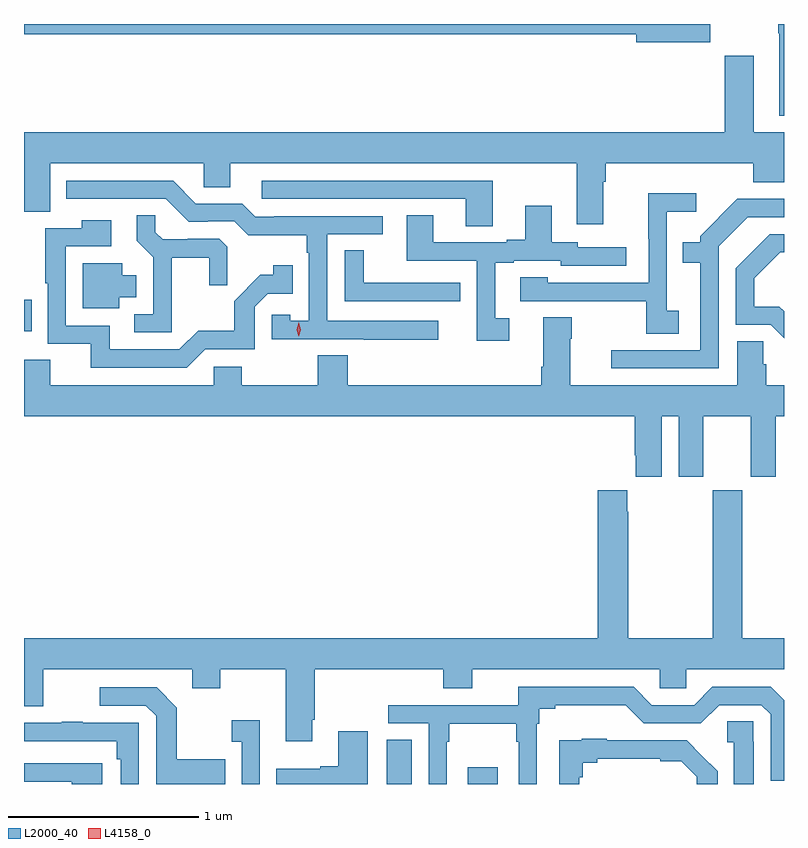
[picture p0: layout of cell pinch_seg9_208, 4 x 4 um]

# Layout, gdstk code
import gdstk
lib = gdstk.Library(unit=1e-6, precision=1e-09)
def R(c, l, rs):  # rectangles x0, y0, x1, y1
    for r in rs: c.add(gdstk.rectangle(r[:2], r[2:], *l))
def P(c, l, *ps):  # polygons
    for p in ps: c.add(gdstk.Polygon(p, *l))
L2000_40 = (2000, 40)
L4158_0 = (4158, 0)

pinch_seg9_208 = lib.new_cell('pinch_seg9_208')
R(pinch_seg9_208, L2000_40, [(627.344,1227.785,627.475,1228.019), (627.77,1227.785,627.928,1227.874), (625.435,1230.167,625.475,1230.333)])
P(pinch_seg9_208, L2000_40, [(629.435,1231.785),(629.404,1231.785),(629.404,1231.736),(629.411,1231.736),(629.411,1231.301),(629.435,1231.301)],
  [(629.047,1231.785),(625.435,1231.785),(625.435,1231.732),(628.658,1231.732),(628.658,1231.69),(629.047,1231.69)],
  [(628.483,1230.956),(628.496,1230.956),(628.496,1231.052),(629.273,1231.052),(629.273,1230.953),(629.435,1230.953),(629.435,1231.216),(629.275,1231.216),(629.275,1231.618),(629.123,1231.618),(629.123,1231.216),(625.435,1231.216),(625.435,1230.796),(625.573,1230.796),(625.573,1231.052),(626.382,1231.052),(626.382,1230.925),(626.521,1230.925),(626.521,1231.052),(628.343,1231.052),(628.343,1230.732),(628.483,1230.732)],
  [(627.616,1230.222),(627.03,1230.222),(627.03,1230.678),(627.322,1230.678),(627.322,1230.774),(626.752,1230.774),(626.752,1230.771),(626.652,1230.771),(626.583,1230.84),(626.34,1230.84),(626.22,1230.96),(625.658,1230.96),(625.658,1230.864),(626.181,1230.864),(626.301,1230.744),(626.402,1230.744),(626.402,1230.747),(626.541,1230.747),(626.614,1230.674),(626.922,1230.674),(626.922,1230.581),(626.934,1230.581),(626.934,1230.223),(626.835,1230.223),(626.835,1230.255),(626.739,1230.255),(626.739,1230.126),(627.223,1230.126),(627.223,1230.124),(627.616,1230.124)],
  [(627.901,1230.96),(626.685,1230.96),(626.685,1230.864),(627.761,1230.864),(627.761,1230.721),(627.901,1230.721)],
  [(628.882,1230.276),(628.818,1230.276),(628.818,1230.797),(628.972,1230.797),(628.972,1230.895),(628.72,1230.895),(628.72,1230.656),(628.722,1230.656),(628.722,1230.423),(628.191,1230.423),(628.191,1230.451),(628.047,1230.451),(628.047,1230.327),(628.405,1230.327),(628.405,1230.325),(628.71,1230.325),(628.71,1230.154),(628.882,1230.154)],
  [(629.091,1230.615),(629.244,1230.768),(629.435,1230.768),(629.435,1230.864),(629.19,1230.864),(628.995,1230.669),(628.995,1230.637),(628.903,1230.637),(628.903,1230.528),(628.994,1230.528),(628.994,1230.069),(628.527,1230.069),(628.527,1229.973),(629.091,1229.973)],
  [(627.988,1230.237),(627.916,1230.237),(627.916,1230.528),(628.012,1230.528),(628.012,1230.54),(628.26,1230.54),(628.26,1230.513),(628.606,1230.513),(628.606,1230.609),(628.35,1230.609),(628.35,1230.636),(628.213,1230.636),(628.213,1230.829),(628.073,1230.829),(628.073,1230.649),(627.977,1230.649),(627.977,1230.636),(627.589,1230.636),(627.589,1230.779),(627.449,1230.779),(627.449,1230.54),(627.819,1230.54),(627.819,1230.117),(627.988,1230.117)],
  [(626.213,1230.554),(626.41,1230.554),(626.41,1230.411),(626.504,1230.411),(626.504,1230.613),(626.463,1230.654),(626.298,1230.654),(626.298,1230.651),(626.164,1230.651),(626.127,1230.688),(626.127,1230.779),(626.029,1230.779),(626.029,1230.643),(626.115,1230.557),(626.115,1230.258),(626.016,1230.258),(626.016,1230.162),(626.213,1230.162)],
  [(626.388,1230.072),(626.649,1230.072),(626.649,1230.297),(626.718,1230.366),(626.849,1230.366),(626.849,1230.514),(626.748,1230.514),(626.748,1230.464),(626.678,1230.464),(626.541,1230.326),(626.541,1230.171),(626.352,1230.171),(626.253,1230.072),(625.885,1230.072),(625.885,1230.198),(625.656,1230.198),(625.656,1230.615),(625.894,1230.615),(625.894,1230.751),(625.738,1230.751),(625.738,1230.711),(625.548,1230.711),(625.548,1230.421),(625.56,1230.421),(625.56,1230.102),(625.787,1230.102),(625.787,1229.976),(626.292,1229.976)],
  [(629.435,1230.274),(629.411,1230.298),(629.278,1230.298),(629.278,1230.448),(629.415,1230.585),(629.435,1230.585),(629.435,1230.678),(629.36,1230.678),(629.181,1230.499),(629.181,1230.201),(629.364,1230.201),(629.435,1230.131)],
  [(627.73,1230.422),(627.617,1230.422),(627.617,1230.423),(627.222,1230.423),(627.222,1230.593),(627.123,1230.593),(627.123,1230.327),(627.73,1230.327)],
  [(625.936,1230.347),(626.026,1230.347),(626.026,1230.463),(625.951,1230.463),(625.951,1230.526),(625.745,1230.526),(625.745,1230.29),(625.936,1230.29)],
  [(629.189,1230.116),(629.189,1229.884),(628.309,1229.884),(628.309,1230.128),(628.317,1230.128),(628.317,1230.241),(628.169,1230.241),(628.169,1229.98),(628.157,1229.98),(628.157,1229.884),(627.14,1229.884),(627.14,1230.041),(626.98,1230.041),(626.98,1229.884),(626.58,1229.884),(626.58,1229.982),(626.433,1229.982),(626.433,1229.884),(625.573,1229.884),(625.573,1230.017),(625.435,1230.017),(625.435,1229.72),(628.649,1229.72),(628.649,1229.515),(628.655,1229.515),(628.655,1229.403),(628.792,1229.403),(628.792,1229.72),(628.88,1229.72),(628.88,1229.403),(629.011,1229.403),(629.011,1229.72),(629.261,1229.72),(629.261,1229.403),(629.392,1229.403),(629.392,1229.72),(629.435,1229.72),(629.435,1229.884),(629.342,1229.884),(629.342,1229.994),(629.327,1229.994),(629.327,1230.116)],
  [(626.953,1228.123),(626.966,1228.123),(626.966,1228.388),(627.641,1228.388),(627.641,1228.289),(627.793,1228.289),(627.793,1228.388),(628.782,1228.388),(628.782,1228.29),(628.92,1228.29),(628.92,1228.388),(629.435,1228.388),(629.435,1228.552),(629.214,1228.552),(629.214,1229.332),(629.059,1229.332),(629.059,1228.552),(628.614,1228.552),(628.614,1229.219),(628.609,1229.219),(628.609,1229.332),(628.454,1229.332),(628.454,1228.552),(625.435,1228.552),(625.435,1228.194),(625.537,1228.194),(625.537,1228.388),(626.321,1228.388),(626.321,1228.289),(626.469,1228.289),(626.469,1228.388),(626.813,1228.388),(626.813,1228.011),(626.953,1228.011)],
  [(627.66,1228.007),(627.673,1228.007),(627.673,1228.102),(628.026,1228.102),(628.026,1228.007),(628.038,1228.007),(628.038,1227.785),(628.134,1227.785),(628.134,1228.103),(628.147,1228.103),(628.147,1228.18),(628.231,1228.18),(628.231,1228.199),(628.603,1228.199),(628.698,1228.104),(628.998,1228.104),(629.094,1228.2),(629.316,1228.2),(629.364,1228.152),(629.364,1227.801),(629.435,1227.801),(629.435,1228.225),(629.364,1228.296),(629.058,1228.296),(628.962,1228.2),(628.74,1228.2),(628.644,1228.296),(628.036,1228.296),(628.036,1228.2),(627.351,1228.2),(627.351,1228.104),(627.564,1228.104),(627.564,1227.785),(627.66,1227.785)],
  [(626.495,1227.915),(626.239,1227.915),(626.239,1228.187),(626.133,1228.293),(625.833,1228.293),(625.833,1228.197),(626.076,1228.197),(626.13,1228.143),(626.13,1227.785),(626.495,1227.785)],
  [(626.676,1228.12),(626.529,1228.12),(626.529,1228.007),(626.58,1228.007),(626.58,1227.785),(626.676,1227.785)],
  [(629.275,1228.007),(629.274,1228.007),(629.274,1228.115),(629.136,1228.115),(629.136,1228.004),(629.171,1228.004),(629.171,1227.785),(629.275,1227.785)],
  [(626.04,1228.107),(625.745,1228.107),(625.745,1228.112),(625.633,1228.112),(625.633,1228.107),(625.435,1228.107),(625.435,1228.011),(625.924,1228.011),(625.924,1227.914),(625.944,1227.914),(625.944,1227.785),(626.04,1227.785)],
  [(627.244,1228.063),(627.089,1228.063),(627.089,1227.878),(626.993,1227.878),(626.993,1227.865),(626.763,1227.865),(626.763,1227.785),(627.244,1227.785)],
  [(628.357,1227.821),(628.375,1227.821),(628.375,1227.898),(628.453,1227.898),(628.453,1227.917),(628.784,1227.917),(628.784,1227.906),(628.893,1227.906),(628.977,1227.823),(628.977,1227.785),(629.086,1227.785),(629.086,1227.851),(629.002,1227.934),(629.003,1227.935),(628.924,1228.014),(628.503,1228.014),(628.503,1228.024),(628.371,1228.024),(628.371,1228.016),(628.253,1228.016),(628.253,1227.785),(628.357,1227.785)],
  [(625.846,1227.894),(625.435,1227.894),(625.435,1227.798),(625.685,1227.798),(625.685,1227.785),(625.846,1227.785)])
P(pinch_seg9_208, L4158_0, [(626.881,1230.141),(626.881,1230.141),(626.871,1230.177),(626.881,1230.213),(626.881,1230.214),(626.881,1230.213),(626.891,1230.177),(626.881,1230.141)])

lib.write_gds('pinch_seg9_208.gds')
